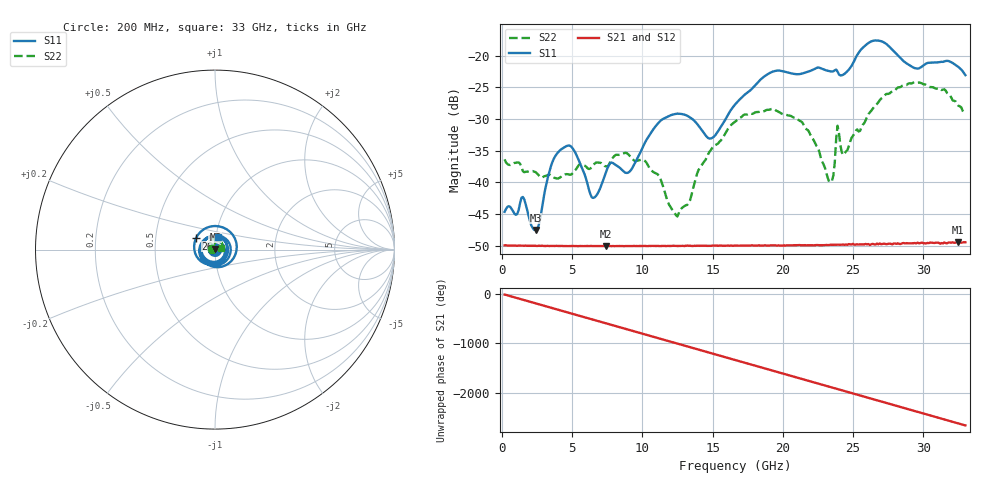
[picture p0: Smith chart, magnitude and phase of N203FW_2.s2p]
# GHZ S RI R 50
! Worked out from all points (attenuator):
!   329 points, 200 MHz to 33 GHz, reference 50 ohm
!   highest |S21| = -49.45 dB at 32.5 GHz (marker M1); lowest = -50.1 dB at 7.4 GHz (marker M2)
!   lowest |S11| = -47.5 dB at 2.4 GHz (marker M3), VSWR 1.01, Z = 50.2 + j0.343 ohm
!   |S11| at or under -10 dB: start of sweep to end of sweep
!   |S22| runs from -45.4 to -24.2 dB; largest |S21 - S12| = 8.8e-05
!   S11 on the Smith chart (normalised r, x): 200 MHz: 1.01, +0.00; 26 GHz: 0.80, +0.10; 33 GHz: 1.03, +0.14
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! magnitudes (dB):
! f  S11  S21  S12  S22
! 200 MHz  -44.7  -50.0  -49.9  -36.4
! 1.5 GHz  -42.3  -50.0  -50.0  -38.2
! 2.4 GHz  -47.5  -50.0  -50.0  -38.4
! 3.9 GHz  -35.6  -50.0  -50.0  -39.4
! 5.7 GHz  -37.7  -50.1  -50.0  -37.2
! 6.5 GHz  -42.5  -50.1  -50.0  -37.4
! 7.4 GHz  -38.5  -50.1  -50.0  -37.5
! 9.1 GHz  -38.3  -50.0  -50.0  -35.8
! 11.2 GHz  -30.5  -50.1  -50.0  -39.0
! 12.5 GHz  -29.2  -50.0  -50.0  -45.4
! 14.9 GHz  -33.1  -50.0  -50.0  -34.8
! 16.6 GHz  -27.7  -50.0  -50.0  -30.4
! 19.3 GHz  -22.5  -50.0  -50.0  -28.4
! 22.1 GHz  -22.3  -49.9  -49.9  -33.0
! 23.4 GHz  -22.5  -49.8  -49.9  -40.0
! 23.9 GHz  -22.5  -49.9  -49.9  -31.1
! 24.3 GHz  -23.0  -49.8  -49.8  -35.7
! 26 GHz  -18.2  -49.8  -49.7  -29.7
! 27.6 GHz  -18.6  -49.7  -49.7  -26.0
! 29.7 GHz  -22.0  -49.6  -49.6  -24.3
! 32.5 GHz  -21.8  -49.4  -49.4  -27.9
! 33 GHz  -23.1  -49.5  -49.5  -29.2
